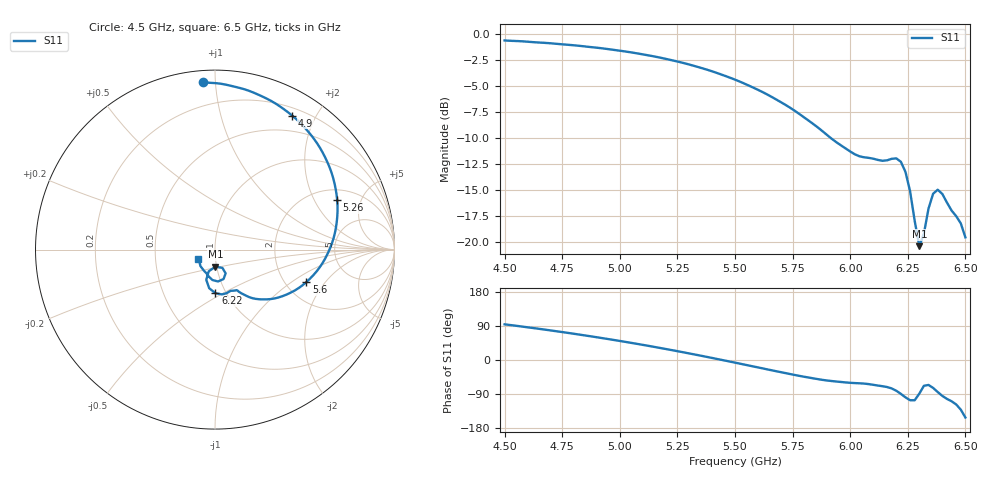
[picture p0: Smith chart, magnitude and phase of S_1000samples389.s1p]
! TOUCHSTONE file generated by CST MICROWAVE STUDIO
! Date and time: Fri Oct 28 00:12:55 2022
! Project name: L.cst
! Parameters = {Di=1.27; Epsilon_r=1.56; InnerDiameter=1.27; Length=2; Lf=10; Lg=60; OuterConductorThickness=0.2921; OuterDiameter=3.6; Wf=3; Wp=41.2; de=1.5; df=6.8; g=0.8; gx=4.33642; gy=4.32092; h=2.34; hf=1.524; px=14.9279; py=12.1797; w=9.7; wx=10.5915; wy=7.85879}
! Header version: 2018
! Port assignment regex: !\s*Touchstone port\s*([0-9]+)\s*=\s*(CST MWS port|CST DS port)\s*([0-9]+|Zmin|Zmax)\s*\(\"(.*)\"\)(\s*mode\s*([0-9]+))?.*
! Touchstone port assignment:
! Touchstone port 1 = CST MWS port 1 ("")
# GHz S DB R 50
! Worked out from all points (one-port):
!   101 points, 4.5 GHz to 6.5 GHz, reference 50 ohm
!   lowest |S11| = -20.4 dB at 6.3 GHz (marker M1), VSWR 1.21, Z = 49.3 - j9.49 ohm
!   |S11| at or under -10 dB: 5.916 GHz to end of sweep
!   S11 on the Smith chart (normalised r, x): 4.5 GHz: 0.06, +0.93; 4.9 GHz: 0.29, +1.69; 5.26 GHz: 2.57, +3.10; 5.6 GHz: 2.58, -1.32; 6.22 GHz: 0.89, -0.46; 6.5 GHz: 0.83, -0.08
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4.5  -0.59 94.1
4.64  -0.78 83.0
4.76  -0.98 72.8
4.9  -1.29 60.1
5  -1.58 50.3
5.14  -2.10 35.6
5.26  -2.68 22.2
5.38  -3.42 7.9
5.5  -4.37 -7.0
5.6  -5.35 -19.6
5.68  -6.29 -29.8
5.76  -7.38 -39.6
5.9  -9.71 -54.1
6  -11.29 -60.2
6.04  -11.75 -61.5
6.16  -12.14 -71.3
6.2  -11.95 -81.1
6.22  -12.28 -89.4
6.24  -13.26 -98.6
6.26  -15.13 -106.1
6.28  -17.98 -106.1
6.3  -20.41 -88.8
6.32  -19.19 -68.0
6.34  -16.78 -65.8
6.36  -15.35 -73.8
6.38  -14.97 -84.6
6.48  -18.21 -131.0
6.5  -19.56 -151.7
